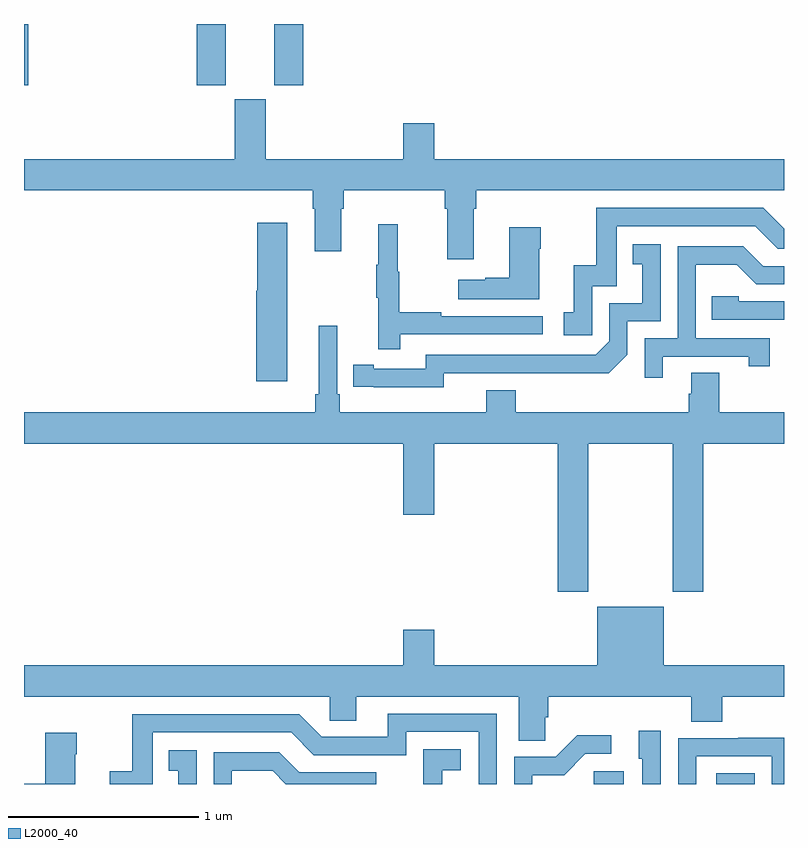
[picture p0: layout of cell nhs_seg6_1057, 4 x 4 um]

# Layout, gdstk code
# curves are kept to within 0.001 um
import gdstk
lib = gdstk.Library(unit=1e-6, precision=1e-09)
def R(c, l, rs):  # rectangles x0, y0, x1, y1
    for r in rs: c.add(gdstk.rectangle(r[:2], r[2:], *l))
def P(c, l, *ps):  # polygons
    for p in ps: c.add(gdstk.Polygon(p, *l))
L2000_40 = (2000, 40)

nhs_seg6_1057 = lib.new_cell('nhs_seg6_1057')
R(nhs_seg6_1057, L2000_40, [(177.999,989.5,178.156,989.566), (178.643,989.5,178.846,989.557), (175,993.177,175.022,993.5), (175.91,993.177,176.062,993.5), (176.318,993.177,176.471,993.5)])
P(nhs_seg6_1057, L2000_40, [(176.272,993.105),(176.108,993.105),(176.108,992.788),(175,992.788),(175,992.624),(176.519,992.624),(176.519,992.528),(176.531,992.528),(176.531,992.304),(176.671,992.304),(176.671,992.528),(176.684,992.528),(176.684,992.624),(177.215,992.624),(177.215,992.528),(177.227,992.528),(177.227,992.262),(177.367,992.262),(177.367,992.528),(177.38,992.528),(177.38,992.624),(179,992.624),(179,992.788),(177.16,992.788),(177.16,992.977),(176.996,992.977),(176.996,992.788),(176.272,992.788)],
  [(177.99,992.121),(178.119,992.121),(178.119,992.436),(178.848,992.436),(178.968,992.316),(179,992.316),(179,992.422),(178.89,992.532),(178.011,992.532),(178.011,992.23),(177.893,992.23),(177.893,991.983),(177.84,991.983),(177.84,991.863),(177.99,991.863)],
  [(176.386,992.455),(176.228,992.455),(176.228,992.097),(176.222,992.097),(176.222,991.62),(176.386,991.62)],
  [(176.981,991.866),(177.73,991.866),(177.73,991.962),(177.197,991.962),(177.197,991.982),(176.974,991.982),(176.974,992.196),(176.966,992.196),(176.966,992.446),(176.864,992.446),(176.864,992.233),(176.853,992.233),(176.853,992.059),(176.864,992.059),(176.864,991.788),(176.981,991.788)],
  [(177.712,992.318),(177.72,992.318),(177.72,992.431),(177.554,992.431),(177.554,992.165),(177.428,992.165),(177.428,992.155),(177.285,992.155),(177.285,992.051),(177.712,992.051)],
  [(177.21,991.662),(178.078,991.661),(178.176,991.758),(178.176,991.935),(178.35,991.935),(178.35,992.341),(178.204,992.341),(178.204,992.235),(178.253,992.235),(178.253,992.031),(178.08,992.031),(178.08,991.83),(178.008,991.758),(177.114,991.758),(177.114,991.686),(176.842,991.686),(176.842,991.706),(176.734,991.706),(176.734,991.59),(177.21,991.589)],
  [(178.363,991.749),(178.814,991.749),(178.814,991.698),(178.925,991.698),(178.925,991.845),(178.536,991.845),(178.536,992.234),(178.75,992.234),(178.854,992.13),(179,992.13),(179,992.226),(178.891,992.226),(178.786,992.331),(178.44,992.331),(178.44,991.845),(178.266,991.845),(178.266,991.638),(178.363,991.638)],
  [(179,992.04),(178.761,992.04),(178.761,992.067),(178.621,992.067),(178.621,991.944),(179,991.944)],
  [(177.969,991.292),(178.414,991.292),(178.414,990.513),(178.574,990.513),(178.574,991.292),(179,991.292),(179,991.456),(178.659,991.456),(178.659,991.664),(178.511,991.664),(178.511,991.554),(178.499,991.554),(178.499,991.456),(177.587,991.456),(177.587,991.573),(177.434,991.573),(177.434,991.456),(176.663,991.456),(176.663,991.552),(176.649,991.552),(176.649,991.912),(176.552,991.912),(176.552,991.552),(176.533,991.552),(176.533,991.456),(175,991.456),(175,991.292),(176.996,991.292),(176.996,990.918),(177.16,990.918),(177.16,991.292),(177.809,991.292),(177.809,990.513),(177.969,990.513)],
  [(177.744,989.851),(177.758,989.851),(177.758,989.96),(178.511,989.96),(178.511,989.827),(178.676,989.827),(178.676,989.96),(179,989.96),(179,990.124),(178.366,990.124),(178.366,990.433),(178.016,990.433),(178.016,990.124),(177.16,990.124),(177.16,990.313),(176.996,990.313),(176.996,990.124),(175,990.124),(175,989.96),(176.61,989.96),(176.61,989.833),(176.749,989.833),(176.749,989.96),(177.605,989.96),(177.605,989.728),(177.744,989.728)],
  [(175.677,989.772),(176.406,989.772),(176.526,989.652),(177.012,989.652),(177.012,989.775),(177.393,989.775),(177.393,989.5),(177.489,989.5),(177.489,989.871),(176.915,989.871),(176.915,989.748),(176.568,989.748),(176.448,989.868),(175.569,989.868),(175.569,989.566),(175.451,989.566),(175.451,989.5),(175.677,989.5)],
  [(178.35,989.779),(178.235,989.779),(178.235,989.634),(178.254,989.634),(178.254,989.5),(178.35,989.5)],
  [(175.27,989.657),(175.278,989.657),(175.278,989.77),(175.112,989.77),(175.112,989.501),(175,989.501),(175,989.5),(175.27,989.5)],
  [(177.675,989.547),(177.844,989.547),(177.955,989.658),(178.09,989.658),(178.09,989.756),(177.911,989.756),(177.798,989.643),(177.579,989.643),(177.579,989.5),(177.675,989.5)],
  [(178.539,989.646),(178.935,989.646),(178.935,989.5),(179,989.5),(179,989.744),(178.759,989.744),(178.759,989.742),(178.443,989.742),(178.443,989.5),(178.539,989.5)],
  [(177.2,989.573),(177.298,989.573),(177.298,989.683),(177.1,989.683),(177.1,989.5),(177.2,989.5)],
  [(175.908,989.677),(175.762,989.677),(175.762,989.571),(175.811,989.571),(175.811,989.5),(175.908,989.5)],
  [(176.094,989.57),(176.308,989.57),(176.378,989.5),(176.853,989.5),(176.853,989.562),(176.449,989.562),(176.344,989.667),(175.998,989.667),(175.998,989.5),(176.094,989.5)])

lib.write_gds('nhs_seg6_1057.gds')
